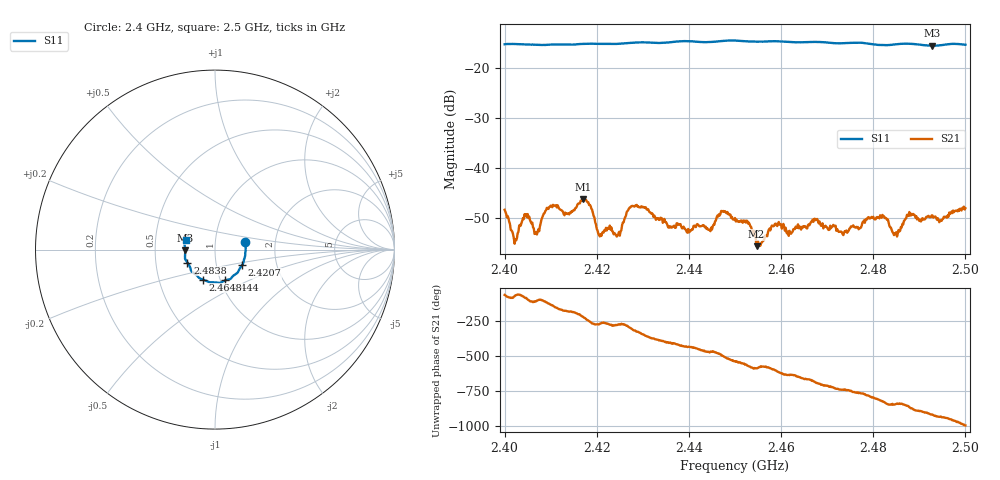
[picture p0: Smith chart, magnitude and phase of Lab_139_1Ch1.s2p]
# Hz S RI R 50
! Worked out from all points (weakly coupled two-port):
!   601 points, 2.4 GHz to 2.5 GHz, reference 50 ohm
!   highest |S21| = -46.27 dB at 2.417 GHz (marker M1); lowest = -55.7 dB at 2.4547 GHz (marker M2)
!   lowest |S11| = -15.6 dB at 2.4928 GHz (marker M3), VSWR 1.40, Z = 35.7 - j0.324 ohm
!   |S11| at or under -10 dB: start of sweep to end of sweep
!   S12 and S22 are empty: the file has one direction only
!   S11 on the Smith chart (normalised r, x): 2.4 GHz: 1.39, +0.12; 2.4207 GHz: 1.33, -0.24; 2.444 GHz: 1.06, -0.37; 2.4648 GHz: 0.83, -0.29; 2.4838 GHz: 0.73, -0.11; 2.5 GHz: 0.72, +0.08
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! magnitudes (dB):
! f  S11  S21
! 2.4 GHz  -15.3  -48.4
! 2.4023 GHz  -15.2  -54.3
! 2.4045 GHz  -15.3  -49.6
! 2.407 GHz  -15.4  -53.4
! 2.4097 GHz  -15.4  -47.9
! 2.4167 GHz  -15.2  -46.6
! 2.417 GHz  -15.2  -46.3
! 2.4207 GHz  -15.2  -53.8
! 2.4247 GHz  -15.2  -53.4
! 2.4278 GHz  -15.0  -47.7
! 2.4333 GHz  -15.0  -50.1
! 2.444 GHz  -14.9  -52.2
! 2.4473 GHz  -14.6  -48.8
! 2.45 GHz  -14.5  -50.1
! 2.4547 GHz  -14.8  -55.7
! 2.4648 GHz  -14.9  -51.7
! 2.4667 GHz  -14.8  -50.7
! 2.4732 GHz  -15.1  -52.9
! 2.4833 GHz  -15.5  -51.0
! 2.4838 GHz  -15.4  -52.0
! 2.4928 GHz  -15.6  -49.5
! 2.5 GHz  -15.4  -48.1
